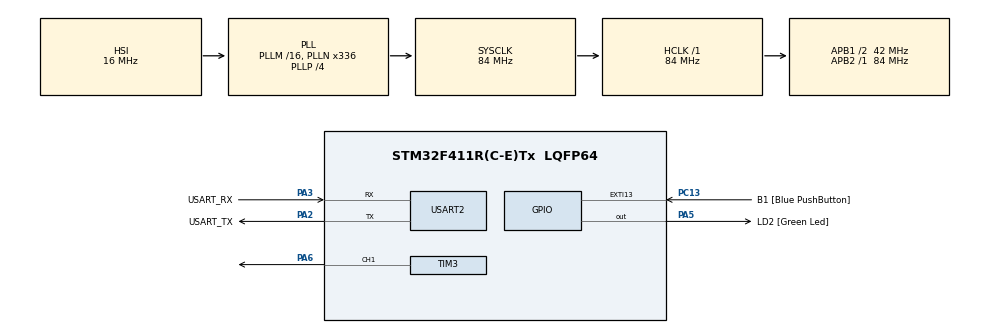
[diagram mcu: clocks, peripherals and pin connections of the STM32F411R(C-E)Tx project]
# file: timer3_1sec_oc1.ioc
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Mcu.Family=STM32F4
Mcu.Name=STM32F411R(C-E)Tx
Mcu.Package=LQFP64
NVIC.PriorityGroup=NVIC_PRIORITYGROUP_0
NVIC.TIM3_IRQn=true\:0\:0\:false\:false\:true\:true\:true\:true
PA13.GPIO_Label=TMS
PA13.Mode=Serial_Wire
PA13.Signal=SYS_JTMS-SWDIO
PA14.GPIO_Label=TCK
PA14.Mode=Serial_Wire
PA14.Signal=SYS_JTCK-SWCLK
PA2.GPIO_Label=USART_TX
PA2.Mode=Asynchronous
PA2.Signal=USART2_TX
PA3.GPIO_Label=USART_RX
PA3.Mode=Asynchronous
PA3.Signal=USART2_RX
PA5.GPIO_Label=LD2 [Green Led]
PA5.Signal=GPIO_Output
PA6.Signal=S_TIM3_CH1
PB3.GPIO_Label=SWO
PB3.Signal=SYS_JTDO-SWO
PC13-ANTI_TAMP.GPIO_Label=B1 [Blue PushButton]
PC13-ANTI_TAMP.GPIO_ModeDefaultEXTI=GPIO_MODE_IT_FALLING
PC13-ANTI_TAMP.Signal=GPXTI13
PC14-OSC32_IN.Signal=RCC_OSC32_IN
PC15-OSC32_OUT.Signal=RCC_OSC32_OUT
PH0\ -\ OSC_IN.Signal=RCC_OSC_IN
PH1\ -\ OSC_OUT.Signal=RCC_OSC_OUT
ProjectManager.HeapSize=0x200
ProjectManager.StackSize=0x400
ProjectManager.TargetToolchain=STM32CubeIDE
RCC.48MHZClocksFreq_Value=84000000
RCC.AHBFreq_Value=84000000
RCC.APB1CLKDivider=RCC_HCLK_DIV2
RCC.APB1Freq_Value=42000000
RCC.APB1TimFreq_Value=84000000
RCC.APB2Freq_Value=84000000
RCC.APB2TimFreq_Value=84000000
RCC.CortexFreq_Value=84000000
RCC.FLatency-AdvancedSettings=FLASH_LATENCY_2
RCC.HCLKFreq_Value=84000000
RCC.HSE_VALUE=8000000
RCC.HSI_VALUE=16000000
RCC.LSE_VALUE=32768
RCC.PLLN=336
RCC.PLLP=RCC_PLLP_DIV4
RCC.SYSCLKFreq_VALUE=84000000
RCC.SYSCLKSource=RCC_SYSCLKSOURCE_PLLCLK
RCC.VCOOutputFreq_Value=336000000
SH.S_TIM3_CH1.0=TIM3_CH1,Output Compare1 CH1
TIM3.AutoReloadPreload=TIM_AUTORELOAD_PRELOAD_ENABLE
TIM3.Channel-Output\ Compare1\ CH1=TIM_CHANNEL_1
TIM3.OCMode_1=TIM_OCMODE_TOGGLE
TIM3.Period=10000-1
TIM3.Prescaler=8400-1
TIM3.Pulse-Output\ Compare1\ CH1=5000-1
USART2.VirtualMode=VM_ASYNC
VP_TIM3_VS_ClockSourceINT.Mode=Internal
board=NUCLEO-F411RE

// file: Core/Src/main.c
/* USER CODE BEGIN Header */
/**
  ******************************************************************************
  * @file           : main.c
  * @brief          : Main program body
  ******************************************************************************
  * @attention
  *
  * Copyright (c) 2025 STMicroelectronics.
  * All rights reserved.
  *
  * This software is licensed under terms that can be found in the LICENSE file
  * in the root directory of this software component.
  * If no LICENSE file comes with this software, it is provided AS-IS.
  *
  ******************************************************************************
  */
/* USER CODE END Header */
#include "main.h"

/* USER CODE BEGIN Includes */
#include <stdio.h>
/* USER CODE END Includes */

/* USER CODE BEGIN PD */
#ifdef __GNUC__
/* With GCC, small printf (option LD Linker->Libraries->Small printf
   set to 'Yes') calls __io_putchar() */
#define PUTCHAR_PROTOTYPE int __io_putchar(int ch)
#else
#define PUTCHAR_PROTOTYPE int fputc(int ch, FILE *f)
#endif /* __GNUC__ */

/* USER CODE END PD */

TIM_HandleTypeDef htim3;

UART_HandleTypeDef huart2;

/* USER CODE BEGIN PV */
volatile int time3SecFlag = 0;
volatile unsigned int time3SecCnt = 0;
//volatile unsigned int time3Cnt = 0;
//volatile int time3CntFlag = 1;
/* USER CODE END PV */

void SystemClock_Config(void);
static void MX_GPIO_Init(void);
static void MX_USART2_UART_Init(void);
static void MX_TIM3_Init(void);

int main(void)
{

  /* MCU Configuration--------------------------------------------------------*/

  /* Reset of all peripherals, Initializes the Flash interface and the Systick. */
  HAL_Init();

  /* Configure the system clock */
  SystemClock_Config();

  /* Initialize all configured peripherals */
  MX_GPIO_Init();
  MX_USART2_UART_Init();
  MX_TIM3_Init();
  /* USER CODE BEGIN 2 */
  printf("main start()!!\r\n");
  if(HAL_TIM_Base_Start_IT(&htim3) != HAL_OK)
	  Error_Handler();
  if(HAL_TIM_OC_Start_IT(&htim3, TIM_CHANNEL_1) != HAL_OK)
	  Error_Handler();

  /* USER CODE END 2 */

  /* Infinite loop */
  /* USER CODE BEGIN WHILE */
  while (1)
  {
	  if(time3SecFlag)
	  {
		  //HAL_GPIO_TogglePin(LD2_GPIO_Port, LD2_Pin);
		  time3SecFlag = 0;
		  printf("time3SecCnt : %d \r\n", time3SecCnt);
	  }

    /* USER CODE END WHILE */

  }
}

void SystemClock_Config(void)
{
  RCC_OscInitTypeDef RCC_OscInitStruct = {0};
  RCC_ClkInitTypeDef RCC_ClkInitStruct = {0};

  /** Configure the main internal regulator output voltage
  */
  __HAL_RCC_PWR_CLK_ENABLE();
  __HAL_PWR_VOLTAGESCALING_CONFIG(PWR_REGULATOR_VOLTAGE_SCALE1);

  /** Initializes the RCC Oscillators according to the specified parameters
  * in the RCC_OscInitTypeDef structure.
  */
  RCC_OscInitStruct.OscillatorType = RCC_OSCILLATORTYPE_HSI;
  RCC_OscInitStruct.HSIState = RCC_HSI_ON;
  RCC_OscInitStruct.HSICalibrationValue = RCC_HSICALIBRATION_DEFAULT;
  RCC_OscInitStruct.PLL.PLLState = RCC_PLL_ON;
  RCC_OscInitStruct.PLL.PLLSource = RCC_PLLSOURCE_HSI;
  RCC_OscInitStruct.PLL.PLLM = 16;
  RCC_OscInitStruct.PLL.PLLN = 336;
  RCC_OscInitStruct.PLL.PLLP = RCC_PLLP_DIV4;
  RCC_OscInitStruct.PLL.PLLQ = 4;
  if (HAL_RCC_OscConfig(&RCC_OscInitStruct) != HAL_OK)
  {
    Error_Handler();
  }

  /** Initializes the CPU, AHB and APB buses clocks
  */
  RCC_ClkInitStruct.ClockType = RCC_CLOCKTYPE_HCLK|RCC_CLOCKTYPE_SYSCLK
                              |RCC_CLOCKTYPE_PCLK1|RCC_CLOCKTYPE_PCLK2;
  RCC_ClkInitStruct.SYSCLKSource = RCC_SYSCLKSOURCE_PLLCLK;
  RCC_ClkInitStruct.AHBCLKDivider = RCC_SYSCLK_DIV1;
  RCC_ClkInitStruct.APB1CLKDivider = RCC_HCLK_DIV2;
  RCC_ClkInitStruct.APB2CLKDivider = RCC_HCLK_DIV1;

  if (HAL_RCC_ClockConfig(&RCC_ClkInitStruct, FLASH_LATENCY_2) != HAL_OK)
  {
    Error_Handler();
  }
}

static void MX_TIM3_Init(void)
{

  TIM_ClockConfigTypeDef sClockSourceConfig = {0};
  TIM_MasterConfigTypeDef sMasterConfig = {0};
  TIM_OC_InitTypeDef sConfigOC = {0};

  htim3.Instance = TIM3;
  htim3.Init.Prescaler = 8400-1;
  htim3.Init.CounterMode = TIM_COUNTERMODE_UP;
  htim3.Init.Period = 10000-1;
  htim3.Init.ClockDivision = TIM_CLOCKDIVISION_DIV1;
  htim3.Init.AutoReloadPreload = TIM_AUTORELOAD_PRELOAD_ENABLE;
  if (HAL_TIM_Base_Init(&htim3) != HAL_OK)
  {
    Error_Handler();
  }
  sClockSourceConfig.ClockSource = TIM_CLOCKSOURCE_INTERNAL;
  if (HAL_TIM_ConfigClockSource(&htim3, &sClockSourceConfig) != HAL_OK)
  {
    Error_Handler();
  }
  if (HAL_TIM_OC_Init(&htim3) != HAL_OK)
  {
    Error_Handler();
  }
  sMasterConfig.MasterOutputTrigger = TIM_TRGO_RESET;
  sMasterConfig.MasterSlaveMode = TIM_MASTERSLAVEMODE_DISABLE;
  if (HAL_TIMEx_MasterConfigSynchronization(&htim3, &sMasterConfig) != HAL_OK)
  {
    Error_Handler();
  }
  sConfigOC.OCMode = TIM_OCMODE_TOGGLE;
  sConfigOC.Pulse = 5000-1;
  sConfigOC.OCPolarity = TIM_OCPOLARITY_HIGH;
  sConfigOC.OCFastMode = TIM_OCFAST_DISABLE;
  if (HAL_TIM_OC_ConfigChannel(&htim3, &sConfigOC, TIM_CHANNEL_1) != HAL_OK)
  {
    Error_Handler();
  }
  HAL_TIM_MspPostInit(&htim3);

}

static void MX_USART2_UART_Init(void)
{

  huart2.Instance = USART2;
  huart2.Init.BaudRate = 115200;
  huart2.Init.WordLength = UART_WORDLENGTH_8B;
  huart2.Init.StopBits = UART_STOPBITS_1;
  huart2.Init.Parity = UART_PARITY_NONE;
  huart2.Init.Mode = UART_MODE_TX_RX;
  huart2.Init.HwFlowCtl = UART_HWCONTROL_NONE;
  huart2.Init.OverSampling = UART_OVERSAMPLING_16;
  if (HAL_UART_Init(&huart2) != HAL_OK)
  {
    Error_Handler();
  }

}

static void MX_GPIO_Init(void)
{
  GPIO_InitTypeDef GPIO_InitStruct = {0};

  /* GPIO Ports Clock Enable */
  __HAL_RCC_GPIOC_CLK_ENABLE();
  __HAL_RCC_GPIOH_CLK_ENABLE();
  __HAL_RCC_GPIOA_CLK_ENABLE();
  __HAL_RCC_GPIOB_CLK_ENABLE();

  /*Configure GPIO pin Output Level */
  HAL_GPIO_WritePin(LD2_GPIO_Port, LD2_Pin, GPIO_PIN_RESET);

  /*Configure GPIO pin : B1_Pin */
  GPIO_InitStruct.Pin = B1_Pin;
  GPIO_InitStruct.Mode = GPIO_MODE_IT_FALLING;
  GPIO_InitStruct.Pull = GPIO_NOPULL;
  HAL_GPIO_Init(B1_GPIO_Port, &GPIO_InitStruct);

  /*Configure GPIO pin : LD2_Pin */
  GPIO_InitStruct.Pin = LD2_Pin;
  GPIO_InitStruct.Mode = GPIO_MODE_OUTPUT_PP;
  GPIO_InitStruct.Pull = GPIO_NOPULL;
  GPIO_InitStruct.Speed = GPIO_SPEED_FREQ_LOW;
  HAL_GPIO_Init(LD2_GPIO_Port, &GPIO_InitStruct);

}

/* USER CODE BEGIN 4 */
void HAL_TIM_PeriodElapsedCallback(TIM_HandleTypeDef * htim)
{

	if(htim->Instance == TIM3)
	{
		time3SecCnt++;			  //1sec
		time3SecFlag = 1;
		//HAL_GPIO_TogglePin(LD2_GPIO_Port, LD2_Pin);
	}
	/*
	if(time3Cnt >= 1000)  //1ms * 1000 = 1sec
	{
		time3SecFlag = 1;
		time3SecCnt++;
		time3Cnt = 0;		//1ms
	}
	*/
}

void HAL_TIM_OC_DelayElapsedCallback(TIM_HandleTypeDef * htim)
{
	if(htim->Instance == TIM3)
	{
		//HAL_GPIO_TogglePin(LD2_GPIO_Port, LD2_Pin);
	}
}

/**
  * @brief  Retargets the C library printf function to the USART.
  * @param  None
  * @retval None
  */
PUTCHAR_PROTOTYPE
{
  /* Place your implementation of fputc here */
  /* e.g. write a character to the USART6 and Loop until the end of transmission */
  HAL_UART_Transmit(&huart2, (uint8_t *)&ch, 1, 0xFFFF);

  return ch;
}
/* USER CODE END 4 */

void Error_Handler(void)
{
  __disable_irq();
  while (1)
  {
  }
}
